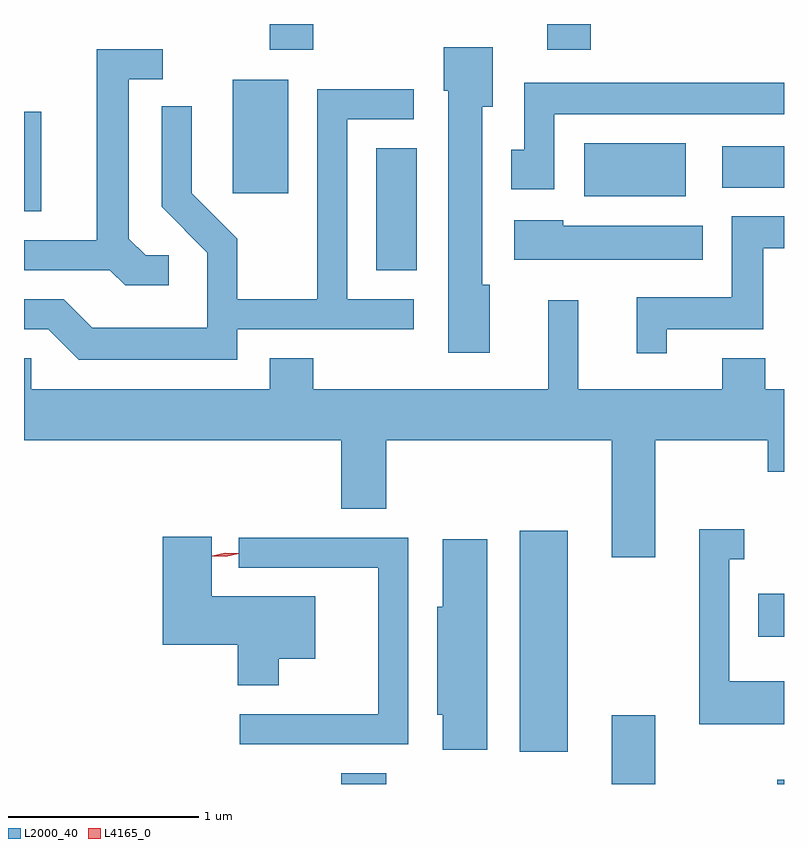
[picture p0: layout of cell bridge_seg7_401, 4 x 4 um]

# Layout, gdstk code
import gdstk
lib = gdstk.Library(unit=1e-6, precision=1e-09)
def R(c, l, rs):  # rectangles x0, y0, x1, y1
    for r in rs: c.add(gdstk.rectangle(r[:2], r[2:], *l))
def P(c, l, *ps):  # polygons
    for p in ps: c.add(gdstk.Polygon(p, *l))
L2000_40 = (2000, 40)
L4165_0 = (4165, 0)

bridge_seg7_401 = lib.new_cell('bridge_seg7_401')
R(bridge_seg7_401, L2000_40, [(1097.176,1716.947,1097.414,1717.004), (1098.601,1716.947,1098.829,1717.309), (1099.471,1716.947,1099.507,1716.969), (1098.116,1717.116,1098.369,1718.279), (1099.371,1717.721,1099.507,1717.949), (1097.361,1719.651,1097.574,1720.294), (1095.507,1719.961,1095.599,1720.484), (1098.456,1720.041,1098.989,1720.319), (1096.606,1720.056,1096.899,1720.654), (1099.181,1720.086,1099.507,1720.304), (1096.801,1720.811,1097.029,1720.947), (1098.261,1720.811,1098.489,1720.947)])
P(bridge_seg7_401, L2000_40, [(1097.959,1719.574),(1097.919,1719.574),(1097.919,1720.511),(1097.974,1720.511),(1097.974,1720.824),(1097.716,1720.824),(1097.716,1720.596),(1097.741,1720.596),(1097.741,1719.216),(1097.959,1719.216)],
  [(1096.268,1719.729),(1096.147,1719.729),(1096.059,1719.817),(1096.059,1720.656),(1096.238,1720.656),(1096.238,1720.814),(1095.891,1720.814),(1095.891,1719.809),(1095.507,1719.809),(1095.507,1719.651),(1095.959,1719.651),(1096.039,1719.571),(1096.268,1719.571)],
  [(1098.299,1720.471),(1099.507,1720.471),(1099.507,1720.639),(1098.141,1720.639),(1098.141,1720.284),(1098.071,1720.284),(1098.071,1720.076),(1098.299,1720.076)],
  [(1096.629,1719.341),(1097.558,1719.341),(1097.558,1719.499),(1097.209,1719.499),(1097.209,1720.446),(1097.558,1720.446),(1097.558,1720.604),(1097.051,1720.604),(1097.051,1719.499),(1096.629,1719.499),(1096.629,1719.817),(1096.389,1720.057),(1096.389,1720.513),(1096.231,1720.513),(1096.231,1719.984),(1096.471,1719.744),(1096.471,1719.349),(1095.867,1719.349),(1095.717,1719.499),(1095.507,1719.499),(1095.507,1719.341),(1095.634,1719.341),(1095.794,1719.181),(1096.629,1719.181)],
  [(1098.889,1719.341),(1099.399,1719.341),(1099.399,1719.766),(1099.507,1719.766),(1099.507,1719.934),(1099.231,1719.934),(1099.231,1719.509),(1098.731,1719.509),(1098.731,1719.213),(1098.889,1719.213)],
  [(1099.079,1719.884),(1098.344,1719.884),(1098.344,1719.914),(1098.086,1719.914),(1098.086,1719.706),(1099.079,1719.706)],
  [(1098.829,1718.756),(1099.421,1718.756),(1099.421,1718.591),(1099.507,1718.591),(1099.507,1719.024),(1099.409,1719.024),(1099.409,1719.189),(1099.181,1719.189),(1099.181,1719.024),(1098.424,1719.024),(1098.424,1719.493),(1098.266,1719.493),(1098.266,1719.024),(1097.029,1719.024),(1097.029,1719.189),(1096.801,1719.189),(1096.801,1719.024),(1095.544,1719.024),(1095.544,1719.189),(1095.507,1719.189),(1095.507,1718.756),(1097.176,1718.756),(1097.176,1718.396),(1097.414,1718.396),(1097.414,1718.756),(1098.601,1718.756),(1098.601,1718.141),(1098.829,1718.141)],
  [(1099.507,1717.489),(1099.219,1717.489),(1099.219,1718.131),(1099.298,1718.131),(1099.298,1718.289),(1099.061,1718.289),(1099.061,1717.261),(1099.507,1717.261)],
  [(1096.849,1717.606),(1097.039,1717.606),(1097.039,1717.934),(1096.494,1717.934),(1096.494,1718.249),(1096.236,1718.249),(1096.236,1717.681),(1096.631,1717.681),(1096.631,1717.466),(1096.849,1717.466)],
  [(1097.529,1718.244),(1096.638,1718.244),(1096.638,1718.086),(1097.371,1718.086),(1097.371,1717.314),(1096.643,1717.314),(1096.643,1717.156),(1097.529,1717.156)],
  [(1097.944,1718.234),(1097.711,1718.234),(1097.711,1717.879),(1097.681,1717.879),(1097.681,1717.311),(1097.711,1717.311),(1097.711,1717.126),(1097.944,1717.126)])
P(bridge_seg7_401, L4165_0, [(1096.568,1718.144),(1096.498,1718.147),(1096.498,1718.148),(1096.498,1718.148),(1096.566,1718.164),(1096.636,1718.161),(1096.636,1718.161),(1096.636,1718.16)],
  [(1096.568,1718.145),(1096.501,1718.148),(1096.5,1718.149),(1096.501,1718.149),(1096.565,1718.165),(1096.632,1718.162),(1096.632,1718.161),(1096.632,1718.161)])

lib.write_gds('bridge_seg7_401.gds')
